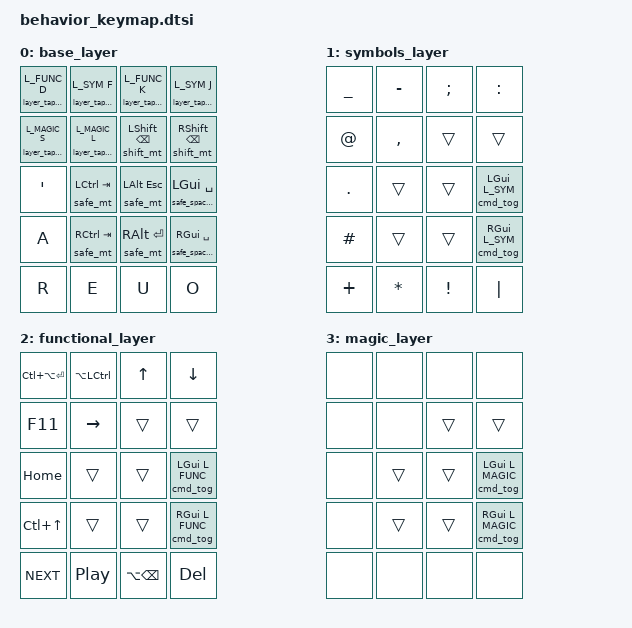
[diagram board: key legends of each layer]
/*
 * Selected production keys, compacted into a 5x4 simulator matrix. The checker
 * verifies every binding on Base, Symbols and Functional against the positions
 * below. Magic is only used to check layer activation and transparent thumbs;
 * its hardware mouse actions and application macros are outside this fixture.
 *
 *     D       F       K       J
 *     S       L     Bspc/S  Bspc/S
 *     '     Tab/C   Esc/A   Space/G
 *     A     Tab/C   Enter/A Space/G
 *     R       E       U       O
 */
#include "../hold-taps.dtsi"

#define L_BASE 0
#define L_SYM 1
#define L_FUNC 2
#define L_MAGIC 3

&kscan {
    rows = <5>;
    columns = <4>;
};

/ {
    test-key-positions = <27 28 32 31 26 33 49 54 34 48 51 50 25 55 52 53 16 15 19 21>;

    keymap {
        compatible = "zmk,keymap";
        base_layer {
            bindings = <
                &layer_tap_left L_FUNC D  &layer_tap_left L_SYM F  &layer_tap_right L_FUNC K  &layer_tap_right L_SYM J
                &layer_tap_left L_MAGIC S &layer_tap_right L_MAGIC L &shift_mt LSHFT BSPC &shift_mt RSHFT BSPC
                &kp SQT &safe_mt LCTRL TAB &safe_mt LALT ESC &safe_space_mt LGUI SPACE
                &kp A &safe_mt RCTRL TAB &safe_mt RALT ENTER &safe_space_mt RGUI SPACE
                &kp R &kp E &kp U &kp O
            >;
        };
        symbols_layer {
            bindings = <
                &kp UNDER &kp MINUS &kp SEMI &kp COLON
                &kp AT &kp COMMA &trans &trans
                &kp DOT &trans &trans &cmd_tog LGUI L_SYM
                &kp HASH &trans &trans &cmd_tog RGUI L_SYM
                &kp PLUS &kp STAR &kp EXCL &kp PIPE
            >;
        };
        functional_layer {
            bindings = <
                &kp LC(LA(ENTER)) &kp LA(LCTRL) &kp UP &kp DOWN
                &kp F11 &kp RIGHT &trans &trans
                &kp HOME &trans &trans &cmd_tog LGUI L_FUNC
                &kp LC(UP) &trans &trans &cmd_tog RGUI L_FUNC
                &kp C_NEXT &kp C_PP &kp LA(BSPC) &kp DEL
            >;
        };
        magic_layer {
            bindings = <
                &none &none &none &none
                &none &none &trans &trans
                &none &trans &trans &cmd_tog LGUI L_MAGIC
                &none &trans &trans &cmd_tog RGUI L_MAGIC
                &none &none &none &none
            >;
        };
    };
};
